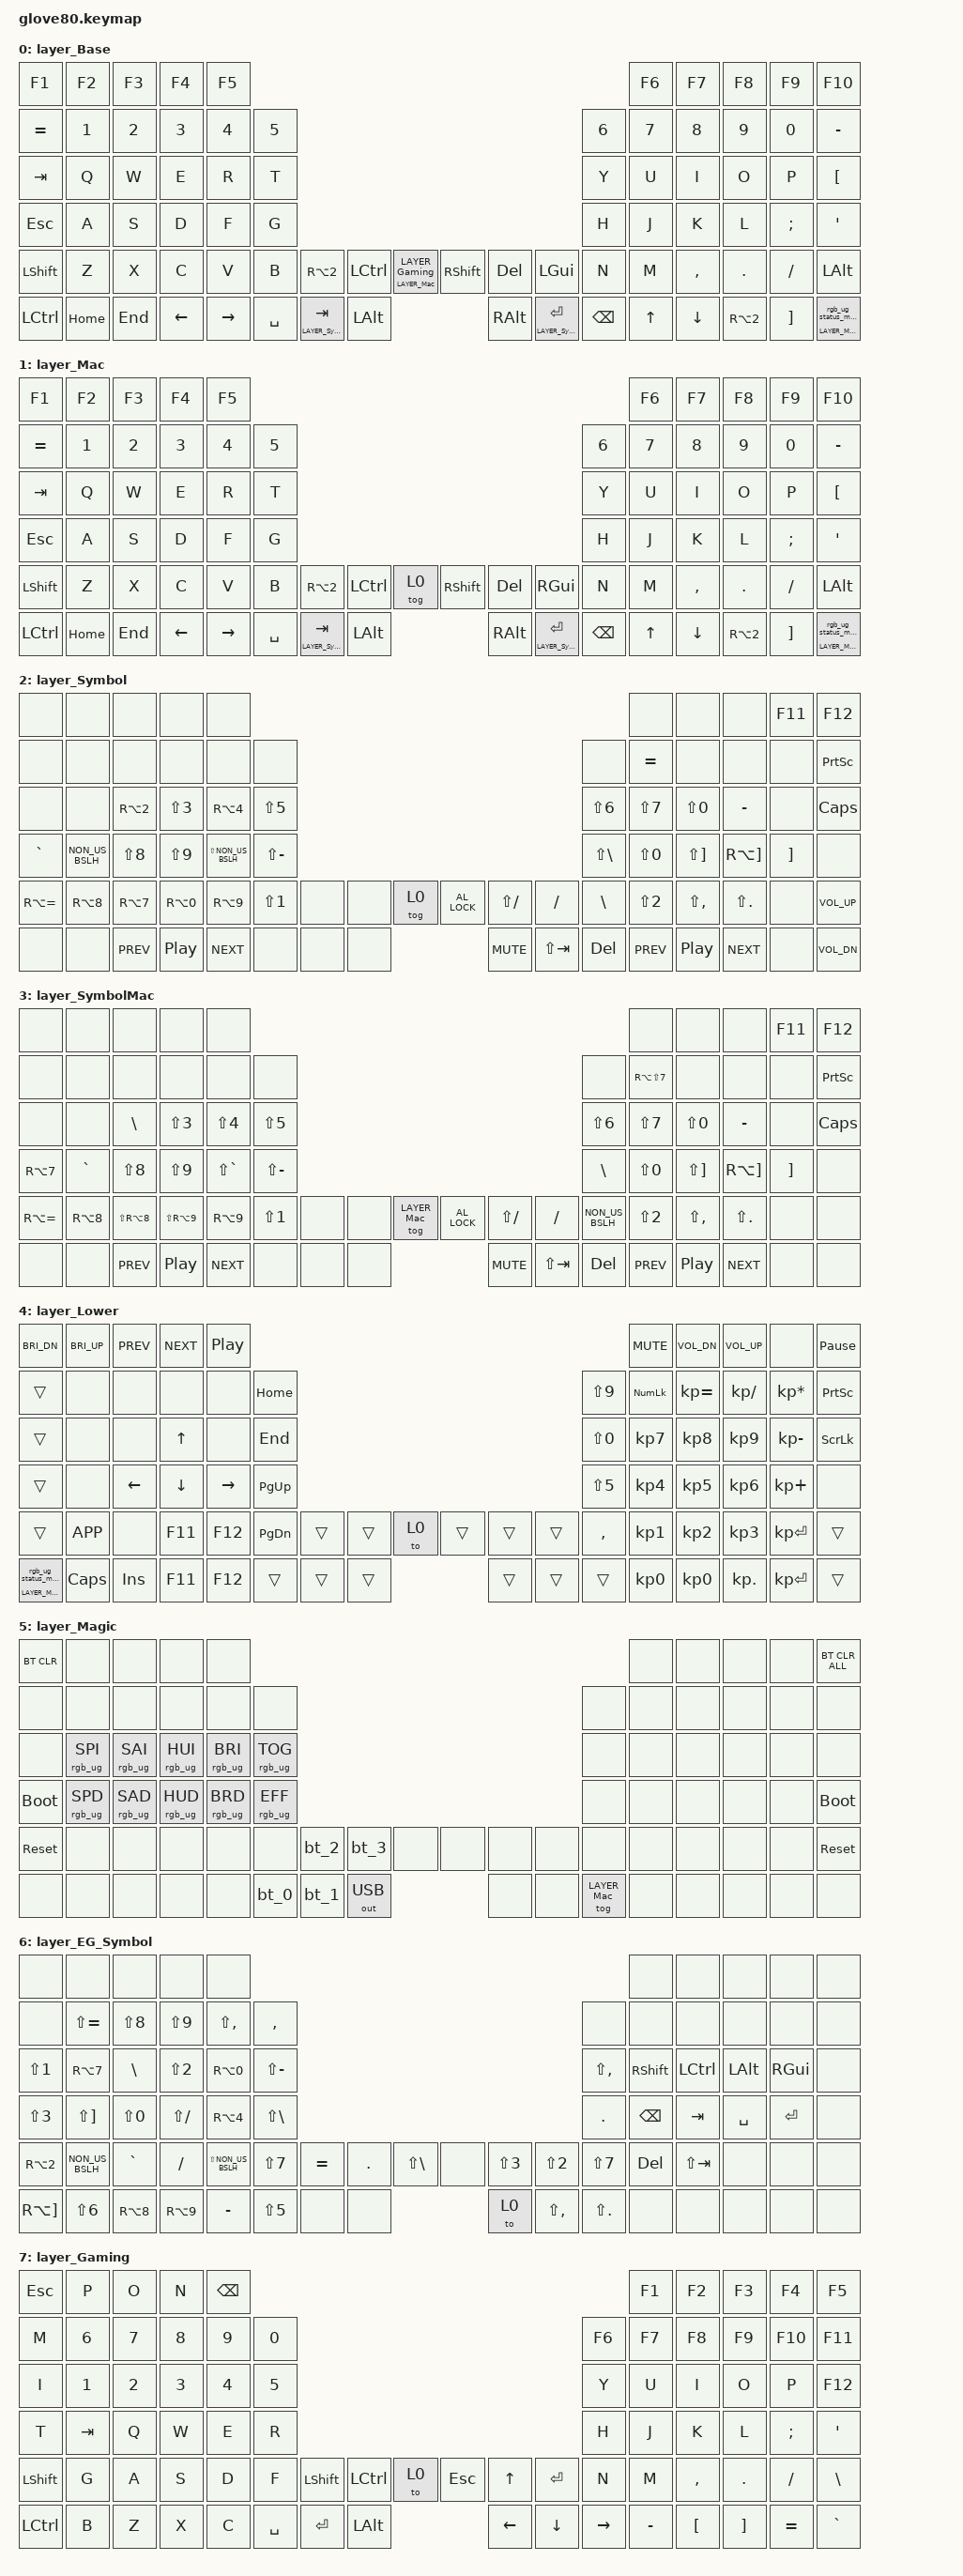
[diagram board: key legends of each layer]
/*
 * Copyright (c) 2020 The ZMK Contributors
 * Copyright (c) 2025 Innaworks Development Limited, trading as MoErgo
 *
 * SPDX-License-Identifier: MIT
 */


/* THIS FILE WAS GENERATED BY GLOVE80 LAYOUT EDITOR
 *
 * This file was generated automatically. You may or may not want to
 * edit it directly.
 */

#include <behaviors.dtsi>
/* Include all behavior includes needed */
#include <dt-bindings/zmk/outputs.h>
#include <dt-bindings/zmk/keys.h>
#include <dt-bindings/zmk/bt.h>
#include <dt-bindings/zmk/rgb.h>
#include <dt-bindings/zmk/rgb_colors.h>  /* fork: named colors RED, GREEN, BLUE, etc. */

/* On demand includes */


/* Helper Macros, based on https://github.com/urob/zmk-helpers/ */

#pragma once

#define ZMK_HELPER_STRINGIFY(x) #x

// Preprocessor mechanism to overload macros, cf. https://stackoverflow.com/a/27051616/6114651
#define VARGS_(_10, _9, _8, _7, _6, _5, _4, _3, _2, _1, N, ...) N
#define VARGS(...) VARGS_(__VA_ARGS__, 10, 9, 8, 7, 6, 5, 4, 3, 2, 1, 0)
#define CONCAT_(a, b) a##b
#define CONCAT(a, b) CONCAT_(a, b)

#define ZMK_BEHAVIOR_CORE_tap_dance  \
    compatible = "zmk,behavior-tap-dance"; \
    #binding-cells = <0>

#define ZMK_BEHAVIOR(name, type, ...) \
    name: name { \
        ZMK_BEHAVIOR_CORE_ ## type; \
        __VA_ARGS__ \
    };

#define ZMK_TAP_DANCE(name, ...) \
    ZMK_BEHAVIOR(name, tap_dance, __VA_ARGS__)

#define ZMK_TD_LAYER(name, layer) \
    ZMK_TAP_DANCE(name, \
        tapping-term-ms = <200>; \
        bindings = <&mo layer>, <&to layer>; \
)

/* Environment and metadata defines */
#define KB_TYPE_GLOVE_80 1
#define KB_TYPE_GO_60    2

#define KB_TYPE          KB_TYPE_GLOVE_80
#define EDITOR_LAYOUT_OS 'W'
#define EDITOR_HOST_OS   'W'

/* Automatically generated layer name defines */
#define LAYER_Base 0
#define LAYER_Mac 1
#define LAYER_Symbol 2
#define LAYER_SymbolMac 3
#define LAYER_Lower 4
#define LAYER_Magic 5
#define LAYER_EG_Symbol 6
#define LAYER_Gaming 7

/* To deal with the situation where there is no Lower layer, to keep &lower happy */
#ifndef LAYER_Lower
#define LAYER_Lower 0
#endif

/* Custom Device-tree */

/* ==== PER-KEY-RGB (darknao/valdur per-layer underglow) ====
 * Gaming layer indicator. All other layers are dark.
 * Colors:
 *   WASD            -> GREEN
 *   action keys     -> RED   (Tab, Q, E, R, F, LShift, LCtrl, Space)
 *   numbers 1-5     -> light blue (0x00BFFF)
 *   numbers 6-0     -> dark blue  (0x0000AA)
 * Positions map 1:1 onto the keymap grid for each layer.
 */
/ {
    underglow-layer {
        compatible = "zmk,underglow-layer";

        gaming {
            bindings = <
    &ug ___      &ug ___      &ug ___      &ug ___      &ug ___                                                                                                  &ug ___ &ug ___ &ug ___ &ug ___ &ug ___
    &ug ___      &ug 0x0000AA &ug 0x0000AA &ug 0x0000AA &ug 0x0000AA &ug 0x0000AA                                                              &ug ___ &ug ___ &ug ___ &ug ___ &ug ___ &ug ___
    &ug ___      &ug 0x00BFFF &ug 0x00BFFF &ug 0x00BFFF &ug 0x00BFFF &ug 0x00BFFF                                                              &ug ___ &ug ___ &ug ___ &ug ___ &ug ___ &ug ___
    &ug ___      &ug RED      &ug RED      &ug GREEN    &ug RED       &ug RED                                                                   &ug ___ &ug ___ &ug ___ &ug ___ &ug ___ &ug ___
    &ug RED      &ug ___      &ug GREEN    &ug GREEN    &ug GREEN     &ug RED      &ug ___ &ug ___ &ug ___ &ug ___ &ug ___ &ug ___              &ug ___ &ug ___ &ug ___ &ug ___ &ug ___ &ug ___
    &ug RED      &ug ___      &ug ___      &ug ___      &ug ___                    &ug RED  &ug ___ &ug ___ &ug ___ &ug ___ &ug ___             &ug ___ &ug ___ &ug ___ &ug ___ &ug ___
                >;
            layer-id = <LAYER_Gaming>;
        };
    };
};
/* ==== PER-KEY-RGB <end> ==== */


/* Input Listeners */


/* System behavior and Macros */
/ {
    behaviors {
        ZMK_TD_LAYER(lower, LAYER_Lower)
    };
};

/ {
    macros {
        rgb_ug_status_macro: rgb_ug_status_macro {
            label = "RGB_UG_STATUS";
            compatible = "zmk,behavior-macro";
            #binding-cells = <0>;
            bindings
                = <&rgb_ug RGB_STATUS>;
        };
    };
};


/ {
#ifdef BT_DISC_CMD
    behaviors {
        bt_0: bt_0 {
            compatible = "zmk,behavior-tap-dance";
            label = "BT_0";
            #binding-cells = <0>;
            tapping-term-ms = <200>;
            bindings = <&bt_select_0>, <&bt BT_DISC 0>;
        };
        bt_1: bt_1 {
            compatible = "zmk,behavior-tap-dance";
            label = "BT_1";
            #binding-cells = <0>;
            tapping-term-ms = <200>;
            bindings = <&bt_select_1>, <&bt BT_DISC 1>;
        };
        bt_2: bt_2 {
            compatible = "zmk,behavior-tap-dance";
            label = "BT_2";
            #binding-cells = <0>;
            tapping-term-ms = <200>;
            bindings = <&bt_select_2>, <&bt BT_DISC 2>;
        };
        bt_3: bt_3 {
            compatible = "zmk,behavior-tap-dance";
            label = "BT_3";
            #binding-cells = <0>;
            tapping-term-ms = <200>;
            bindings = <&bt_select_3>, <&bt BT_DISC 3>;
        };
    };
    macros {
        bt_select_0: bt_select_0 {
            label = "BT_SELECT_0";
            compatible = "zmk,behavior-macro";
            #binding-cells = <0>;
            bindings
                = <&out OUT_BLE>,
                  <&bt BT_SEL 0>;
        };
        bt_select_1: bt_select_1 {
            label = "BT_SELECT_1";
            compatible = "zmk,behavior-macro";
            #binding-cells = <0>;
            bindings
                = <&out OUT_BLE>,
                  <&bt BT_SEL 1>;
        };
        bt_select_2: bt_select_2 {
            label = "BT_SELECT_2";
            compatible = "zmk,behavior-macro";
            #binding-cells = <0>;
            bindings
                = <&out OUT_BLE>,
                  <&bt BT_SEL 2>;
        };
        bt_select_3: bt_select_3 {
            label = "BT_SELECT_3";
            compatible = "zmk,behavior-macro";
            #binding-cells = <0>;
            bindings
                = <&out OUT_BLE>,
                  <&bt BT_SEL 3>;
        };
    };
#else
    macros {
        bt_0: bt_0 {
            label = "BT_0";
            compatible = "zmk,behavior-macro";
            #binding-cells = <0>;
            bindings
                = <&out OUT_BLE>,
                  <&bt BT_SEL 0>;
        };
        bt_1: bt_1 {
            label = "BT_1";
            compatible = "zmk,behavior-macro";
            #binding-cells = <0>;
            bindings
                = <&out OUT_BLE>,
                  <&bt BT_SEL 1>;
        };
        bt_2: bt_2 {
            label = "BT_2";
            compatible = "zmk,behavior-macro";
            #binding-cells = <0>;
            bindings
                = <&out OUT_BLE>,
                  <&bt BT_SEL 2>;
        };
        bt_3: bt_3 {
            label = "BT_3";
            compatible = "zmk,behavior-macro";
            #binding-cells = <0>;
            bindings
                = <&out OUT_BLE>,
                  <&bt BT_SEL 3>;
        };
    };
#endif
};

/ {
    behaviors {
        magic: magic {
            compatible = "zmk,behavior-hold-tap";
            label = "MAGIC_HOLD_TAP";
            #binding-cells = <2>;
            flavor = "tap-preferred";
            tapping-term-ms = <200>;
            bindings = <&mo>, <&rgb_ug_status_macro>;
        };
    };
};


/* Locale-specific keycodes */

#define NB_BAR GRAVE
#define NB_PLUS MINUS
#define NB_BSLH EQUAL
#define NB_E E
#define NB_A_RING LEFT_BRACKET
#define NB_UMLA RIGHT_BRACKET
#define NB_O_SLASH SEMICOLON
#define NB_AE SINGLE_QUOTE
#define NB_SQT BACKSLASH
#define NB_LT NON_US_BACKSLASH
#define NB_COMMA COMMA
#define NB_DOT PERIOD
#define NB_MINUS SLASH
#define NB_N1 N1
#define NB_N2 N2
#define NB_N3 N3
#define NB_N4 N4
#define NB_N5 N5
#define NB_N6 N6
#define NB_N7 N7
#define NB_N8 N8
#define NB_N9 N9
#define NB_N0 N0


/* Key positions */

#define POS_LH_C6R1 0
#define POS_LH_C5R1 1
#define POS_LH_C4R1 2
#define POS_LH_C3R1 3
#define POS_LH_C2R1 4
#define POS_RH_C2R1 5
#define POS_RH_C3R1 6
#define POS_RH_C4R1 7
#define POS_RH_C5R1 8
#define POS_RH_C6R1 9
#define POS_LH_C6R2 10
#define POS_LH_C5R2 11
#define POS_LH_C4R2 12
#define POS_LH_C3R2 13
#define POS_LH_C2R2 14
#define POS_LH_C1R2 15
#define POS_RH_C1R2 16
#define POS_RH_C2R2 17
#define POS_RH_C3R2 18
#define POS_RH_C4R2 19
#define POS_RH_C5R2 20
#define POS_RH_C6R2 21
#define POS_LH_C6R3 22
#define POS_LH_C5R3 23
#define POS_LH_C4R3 24
#define POS_LH_C3R3 25
#define POS_LH_C2R3 26
#define POS_LH_C1R3 27
#define POS_RH_C1R3 28
#define POS_RH_C2R3 29
#define POS_RH_C3R3 30
#define POS_RH_C4R3 31
#define POS_RH_C5R3 32
#define POS_RH_C6R3 33
#define POS_LH_C6R4 34
#define POS_LH_C5R4 35
#define POS_LH_C4R4 36
#define POS_LH_C3R4 37
#define POS_LH_C2R4 38
#define POS_LH_C1R4 39
#define POS_RH_C1R4 40
#define POS_RH_C2R4 41
#define POS_RH_C3R4 42
#define POS_RH_C4R4 43
#define POS_RH_C5R4 44
#define POS_RH_C6R4 45
#define POS_LH_C6R5 46
#define POS_LH_C5R5 47
#define POS_LH_C4R5 48
#define POS_LH_C3R5 49
#define POS_LH_C2R5 50
#define POS_LH_C1R5 51
#define POS_LH_T1 52
#define POS_LH_T2 53
#define POS_LH_T3 54
#define POS_RH_T3 55
#define POS_RH_T2 56
#define POS_RH_T1 57
#define POS_RH_C1R5 58
#define POS_RH_C2R5 59
#define POS_RH_C3R5 60
#define POS_RH_C4R5 61
#define POS_RH_C5R5 62
#define POS_RH_C6R5 63
#define POS_LH_C6R6 64
#define POS_LH_C5R6 65
#define POS_LH_C4R6 66
#define POS_LH_C3R6 67
#define POS_LH_C2R6 68
#define POS_LH_T4 69
#define POS_LH_T5 70
#define POS_LH_T6 71
#define POS_RH_T6 72
#define POS_RH_T5 73
#define POS_RH_T4 74
#define POS_RH_C2R6 75
#define POS_RH_C3R6 76
#define POS_RH_C4R6 77
#define POS_RH_C5R6 78
#define POS_RH_C6R6 79


/* Custom Defined Behaviors */
/ {

};

/* Generated input processors */


/* Automatically generated macro definitions */
/ {
    macros {

    };
};

/* Automatically generated behavior definitions */
/ {
    behaviors {


        // dance between mac and gaming
        layer_dance: layer_dance {
            compatible = "zmk,behavior-hold-tap";
            #binding-cells = <2>;
            tapping-term-ms = <200>;
            bindings = <&tog>, <&tog>;
        };
    };
};

/* Automatically generated combos definitions */


/* Automatically generated keymap */
/ {
    keymap {
        compatible = "zmk,keymap";


        layer_Base {
            bindings = <
    &kp F1    &kp F2   &kp F3    &kp F4     &kp F5                                                                                                                                    &kp F6     &kp F7      &kp F8    &kp F9               &kp F10
 &kp EQUAL    &kp N1   &kp N2    &kp N3     &kp N4  &kp N5                                                                                                                    &kp N6  &kp N7     &kp N8      &kp N9    &kp N0             &kp MINUS
   &kp TAB     &kp Q    &kp W     &kp E      &kp R   &kp T                                                                                                                     &kp Y   &kp U      &kp I       &kp O     &kp P              &kp LBKT
   &kp ESC     &kp A    &kp S     &kp D      &kp F   &kp G                                                                                                                     &kp H   &kp J      &kp K       &kp L  &kp SEMI               &kp SQT
 &kp LSHFT     &kp Z    &kp X     &kp C      &kp V   &kp B  &kp RA(N2)             &kp LCTRL  &layer_dance LAYER_Mac LAYER_Gaming  &kp RSHFT               &kp DEL  &kp LGUI   &kp N   &kp M  &kp COMMA     &kp DOT  &kp FSLH              &kp LALT
 &kp LCTRL  &kp HOME  &kp END  &kp LEFT  &kp RIGHT           &kp SPACE  &lt LAYER_Symbol TAB                             &kp LALT   &kp RALT  &lt LAYER_Symbol RET  &kp BSPC          &kp UP   &kp DOWN  &kp RA(N2)  &kp RBKT  &magic LAYER_Magic 0
            >;
        };

        layer_Mac {
            bindings = <
    &kp F1    &kp F2   &kp F3    &kp F4     &kp F5                                                                                                               &kp F6     &kp F7      &kp F8    &kp F9               &kp F10
 &kp EQUAL    &kp N1   &kp N2    &kp N3     &kp N4  &kp N5                                                                                               &kp N6  &kp N7     &kp N8      &kp N9    &kp N0             &kp MINUS
   &kp TAB     &kp Q    &kp W     &kp E      &kp R   &kp T                                                                                                &kp Y   &kp U      &kp I       &kp O     &kp P              &kp LBKT
   &kp ESC     &kp A    &kp S     &kp D      &kp F   &kp G                                                                                                &kp H   &kp J      &kp K       &kp L  &kp SEMI               &kp SQT
 &kp LSHFT     &kp Z    &kp X     &kp C      &kp V   &kp B  &kp RA(N2)                &kp LCTRL    &tog 0  &kp RSHFT                  &kp DEL  &kp RGUI   &kp N   &kp M  &kp COMMA     &kp DOT  &kp FSLH              &kp LALT
 &kp LCTRL  &kp HOME  &kp END  &kp LEFT  &kp RIGHT           &kp SPACE  &lt LAYER_SymbolMac TAB  &kp LALT   &kp RALT  &lt LAYER_SymbolMac RET  &kp BSPC          &kp UP   &kp DOWN  &kp RA(N2)  &kp RBKT  &magic LAYER_Magic 0
            >;
        };

        layer_Symbol {
            bindings = <
         &none            &none       &none       &none                &none                                                                                                   &none          &none         &none   &kp F11       &kp F12
         &none            &none       &none       &none                &none          &none                                                                        &none   &kp EQUAL          &none         &none     &none     &kp PSCRN
         &none            &none  &kp RA(N2)  &kp LS(N3)           &kp RA(N4)     &kp LS(N5)                                                                   &kp LS(N6)  &kp LS(N7)     &kp LS(N0)     &kp MINUS     &none      &kp CAPS
     &kp GRAVE  &kp NON_US_BSLH  &kp LS(N8)  &kp LS(N9)  &kp LS(NON_US_BSLH)  &kp LS(MINUS)                                                                 &kp LS(BSLH)  &kp LS(N0)   &kp LS(RBKT)  &kp RA(RBKT)  &kp RBKT         &none
 &kp RA(EQUAL)       &kp RA(N8)  &kp RA(N7)  &kp RA(N0)           &kp RA(N9)     &kp LS(N1)   &none   &none  &tog 0  &kp C_AL_LOCK  &kp LS(FSLH)  &kp FSLH      &kp BSLH  &kp LS(N2)  &kp LS(COMMA)   &kp LS(DOT)     &none  &kp C_VOL_UP
         &none            &none  &kp C_PREV    &kp C_PP           &kp C_NEXT                  &none   &none   &none     &kp C_MUTE   &kp LS(TAB)   &kp DEL                &kp C_PREV       &kp C_PP    &kp C_NEXT     &none  &kp C_VOL_DN
            >;
        };

        layer_SymbolMac {
            bindings = <
         &none       &none           &none           &none          &none                                                                                                                  &none          &none         &none   &kp F11    &kp F12
         &none       &none           &none           &none          &none          &none                                                                                   &none  &kp RA(LS(N7))          &none         &none     &none  &kp PSCRN
         &none       &none        &kp BSLH      &kp LS(N3)     &kp LS(N4)     &kp LS(N5)                                                                              &kp LS(N6)      &kp LS(N7)     &kp LS(N0)     &kp MINUS     &none   &kp CAPS
    &kp RA(N7)   &kp GRAVE      &kp LS(N8)      &kp LS(N9)  &kp LS(GRAVE)  &kp LS(MINUS)                                                                                &kp BSLH      &kp LS(N0)   &kp LS(RBKT)  &kp RA(RBKT)  &kp RBKT      &none
 &kp RA(EQUAL)  &kp RA(N8)  &kp LS(RA(N8))  &kp LS(RA(N9))     &kp RA(N9)     &kp LS(N1)   &none   &none  &tog LAYER_Mac  &kp C_AL_LOCK  &kp LS(FSLH)  &kp FSLH  &kp NON_US_BSLH      &kp LS(N2)  &kp LS(COMMA)   &kp LS(DOT)     &none      &none
         &none       &none      &kp C_PREV        &kp C_PP     &kp C_NEXT                  &none   &none           &none     &kp C_MUTE   &kp LS(TAB)   &kp DEL                       &kp C_PREV       &kp C_PP    &kp C_NEXT     &none      &none
            >;
        };

        layer_Lower {
            bindings = <
         &kp C_BRI_DN  &kp C_BRI_UP      &kp C_PREV      &kp C_NEXT         &kp C_PP                                                                         &kp C_MUTE  &kp C_VOL_DN  &kp C_VOL_UP            &none  &kp PAUSE_BREAK
               &trans         &none           &none           &none            &none   &kp HOME                                                  &kp LS(N9)  &kp KP_NUM  &kp KP_EQUAL  &kp KP_SLASH  &kp KP_MULTIPLY  &kp PRINTSCREEN
               &trans         &none           &none    &kp UP_ARROW            &none    &kp END                                                  &kp LS(N0)   &kp KP_N7     &kp KP_N8     &kp KP_N9     &kp KP_MINUS   &kp SCROLLLOCK
               &trans         &none  &kp LEFT_ARROW  &kp DOWN_ARROW  &kp RIGHT_ARROW  &kp PG_UP                                                  &kp LS(N5)   &kp KP_N4     &kp KP_N5     &kp KP_N6      &kp KP_PLUS            &none
               &trans     &kp K_APP           &none         &kp F11          &kp F12  &kp PG_DN  &trans  &trans   &to 0  &trans  &trans  &trans   &kp COMMA   &kp KP_N1     &kp KP_N2     &kp KP_N3     &kp KP_ENTER           &trans
 &magic LAYER_Magic 0      &kp CAPS         &kp INS         &kp F11          &kp F12             &trans  &trans  &trans  &trans  &trans  &trans               &kp KP_N0     &kp KP_N0    &kp KP_DOT     &kp KP_ENTER           &trans
            >;
        };

        layer_Magic {
            bindings = <
  &bt BT_CLR            &none            &none            &none            &none                                                                                          &none   &none   &none   &none  &bt BT_CLR_ALL
       &none            &none            &none            &none            &none            &none                                                                 &none   &none   &none   &none   &none           &none
       &none  &rgb_ug RGB_SPI  &rgb_ug RGB_SAI  &rgb_ug RGB_HUI  &rgb_ug RGB_BRI  &rgb_ug RGB_TOG                                                                 &none   &none   &none   &none   &none           &none
 &bootloader  &rgb_ug RGB_SPD  &rgb_ug RGB_SAD  &rgb_ug RGB_HUD  &rgb_ug RGB_BRD  &rgb_ug RGB_EFF                                                                 &none   &none   &none   &none   &none     &bootloader
  &sys_reset            &none            &none            &none            &none            &none   &bt_2   &bt_3         &none   &none   &none           &none   &none   &none   &none   &none   &none      &sys_reset
       &none            &none            &none            &none            &none                    &bt_0   &bt_1  &out OUT_USB   &none   &none  &tog LAYER_Mac           &none   &none   &none   &none           &none
            >;
        };

        layer_EG_Symbol {
            bindings = <
        &none            &none       &none         &none                &none                                                                                                           &none        &none      &none     &none   &none
        &none    &kp LS(EQUAL)  &kp LS(N8)    &kp LS(N9)        &kp LS(COMMA)      &kp COMMA                                                                                 &none      &none        &none      &none     &none   &none
   &kp LS(N1)       &kp RA(N7)    &kp BSLH    &kp LS(N2)           &kp RA(N0)  &kp LS(MINUS)                                                                         &kp LS(COMMA)  &kp RSHFT    &kp LCTRL   &kp LALT  &kp RGUI   &none
   &kp LS(N3)     &kp LS(RBKT)  &kp LS(N0)  &kp LS(FSLH)           &kp RA(N4)   &kp LS(BSLH)                                                                               &kp DOT   &kp BSPC      &kp TAB  &kp SPACE   &kp RET   &none
   &kp RA(N2)  &kp NON_US_BSLH   &kp GRAVE      &kp FSLH  &kp LS(NON_US_BSLH)     &kp LS(N7)   &kp EQUAL  &kp DOT  &kp LS(BSLH)   &none     &kp LS(N3)   &kp LS(N2)     &kp LS(N7)    &kp DEL  &kp LS(TAB)      &none     &none   &none
 &kp RA(RBKT)       &kp LS(N6)  &kp RA(N8)    &kp RA(N9)            &kp MINUS                 &kp LS(N5)    &none         &none   &to 0  &kp LS(COMMA)  &kp LS(DOT)                     &none        &none      &none     &none   &none
            >;
        };

        layer_Gaming {
            bindings = <
   &kp ESC    &kp P   &kp O   &kp N  &kp BSPC                                                                                    &kp F1     &kp F2    &kp F3     &kp F4     &kp F5
     &kp M   &kp N6  &kp N7  &kp N8    &kp N9  &kp N0                                                                 &kp F6     &kp F7     &kp F8    &kp F9    &kp F10    &kp F11
     &kp I   &kp N1  &kp N2  &kp N3    &kp N4  &kp N5                                                                  &kp Y      &kp U      &kp I     &kp O      &kp P    &kp F12
     &kp T  &kp TAB   &kp Q   &kp W     &kp E   &kp R                                                                  &kp H      &kp J      &kp K     &kp L   &kp SEMI    &kp SQT
 &kp LSHFT    &kp G   &kp A   &kp S     &kp D   &kp F  &kp LSHFT  &kp LCTRL     &to 0   &kp ESC    &kp UP    &kp RET   &kp N      &kp M  &kp COMMA   &kp DOT   &kp FSLH   &kp BSLH
 &kp LCTRL    &kp B   &kp Z   &kp X     &kp C          &kp SPACE    &kp RET  &kp LALT  &kp LEFT  &kp DOWN  &kp RIGHT          &kp MINUS   &kp LBKT  &kp RBKT  &kp EQUAL  &kp GRAVE
            >;
        };

    };
};
